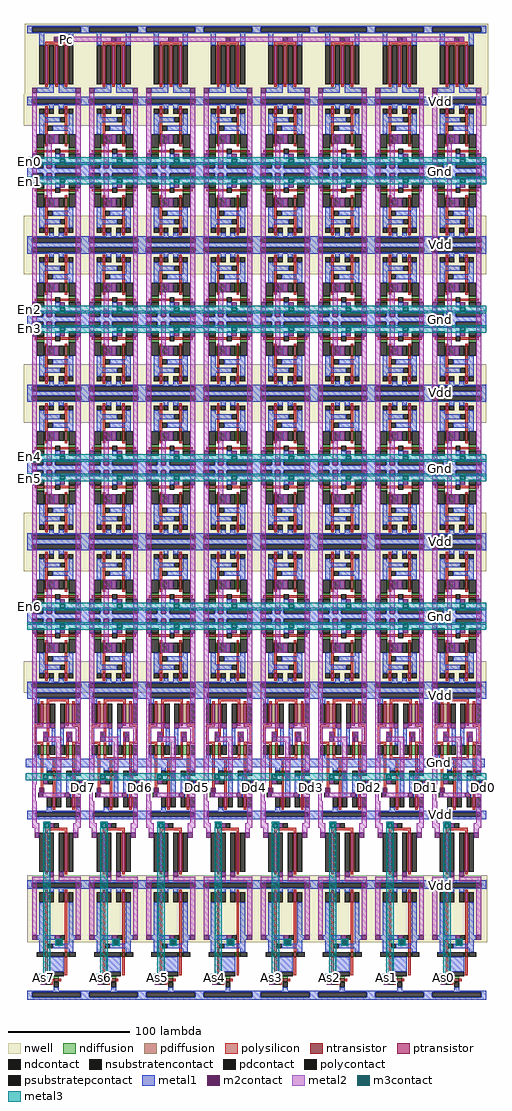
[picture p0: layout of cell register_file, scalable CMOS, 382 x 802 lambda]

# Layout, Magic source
magic
tech scmos
<< nwell >>
rect 355 55 359 61
rect 357 12 359 16
<< metal1 >>
rect 356 757 359 758
rect 355 699 359 703
rect 355 641 358 646
rect 355 581 359 586
rect 355 520 359 524
rect 355 460 358 463
rect 355 397 359 401
rect 355 337 359 342
rect 355 276 359 280
rect 355 210 359 215
rect 355 155 358 161
rect 355 113 359 117
rect 355 55 359 61
rect 358 2 359 6
rect 355 1 359 2
<< metal2 >>
rect 39 750 376 754
<< metal3 >>
rect 17 649 21 655
rect 17 633 21 639
rect 17 527 21 533
rect 17 511 21 517
rect 17 405 21 411
rect 17 389 21 395
rect 17 283 21 289
rect 60 134 66 140
rect 107 134 113 140
rect 154 134 160 140
rect 201 134 207 140
rect 248 134 254 140
rect 295 134 301 140
rect 342 134 348 140
rect 389 134 395 140
use reg_bit  reg_bit_0
transform 1 0 21 0 1 210
box -7 -247 46 555
use reg_bit  reg_bit_1
transform 1 0 68 0 1 210
box -7 -247 46 555
use reg_bit  reg_bit_2
transform 1 0 115 0 1 210
box -7 -247 46 555
use reg_bit  reg_bit_3
transform 1 0 162 0 1 210
box -7 -247 46 555
use reg_bit  reg_bit_4
transform 1 0 209 0 1 210
box -7 -247 46 555
use reg_bit  reg_bit_5
transform 1 0 256 0 1 210
box -7 -247 46 555
use reg_bit  reg_bit_6
transform 1 0 303 0 1 210
box -7 -247 46 555
use reg_bit  reg_bit_7
transform 1 0 350 0 1 210
box -7 -247 46 555
<< labels >>
rlabel metal1 357 57 357 57 3 Vdd
rlabel metal1 357 115 357 115 3 Vdd
rlabel metal1 356 158 356 158 3 Gnd
rlabel metal1 357 213 357 213 3 Vdd
rlabel metal1 357 278 357 278 3 Gnd
rlabel metal1 357 339 357 339 3 Vdd
rlabel metal1 357 399 357 399 3 Gnd
rlabel metal1 357 462 357 462 3 Vdd
rlabel metal1 357 522 357 522 3 Gnd
rlabel metal1 357 583 357 583 3 Vdd
rlabel metal1 357 643 357 643 3 Gnd
rlabel metal1 357 701 357 701 3 Vdd
rlabel metal3 389 134 395 140 5 Dd0
rlabel metal3 342 134 348 140 5 Dd1
rlabel metal3 295 134 301 140 5 Dd2
rlabel metal3 248 134 254 140 5 Dd3
rlabel metal3 201 134 207 140 5 Dd4
rlabel metal3 154 134 160 140 5 Dd5
rlabel metal3 107 134 113 140 5 Dd6
rlabel metal3 60 134 66 140 5 Dd7
rlabel metal3 19 652 19 652 7 En0
rlabel metal3 19 635 19 635 7 En1
rlabel metal3 19 530 19 530 7 En2
rlabel metal3 19 514 19 514 7 En3
rlabel metal3 19 409 19 409 7 En4
rlabel metal3 19 391 19 391 7 En5
rlabel metal3 19 286 19 286 7 En6
rlabel metal2 47 750 51 754 1 Pc
rlabel space 357 -21 361 -17 1 As0
rlabel space 310 -21 314 -17 1 As1
rlabel space 263 -21 267 -17 1 As2
rlabel space 216 -21 220 -17 1 As3
rlabel space 169 -21 173 -17 1 As4
rlabel space 122 -21 126 -17 1 As5
rlabel space 75 -21 79 -17 1 As6
rlabel space 28 -21 32 -17 1 As7
<< end >>

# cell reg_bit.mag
magic
tech scmos
<< nwell >>
rect -4 -156 0 -149
rect 0 -166 4 -159
rect 36 -166 40 -159
<< metal1 >>
rect -5 -56 43 -49
rect -4 -99 0 -92
rect -4 -156 0 -149
rect -4 -247 0 -240
<< m2contact >>
rect 14 -106 18 -102
rect 7 -235 11 -231
<< metal2 >>
rect 2 -110 6 -106
rect 34 -110 38 -106
rect 0 -166 4 -159
rect 36 -166 40 -159
<< m3contact >>
rect 10 -106 14 -102
rect 7 -231 11 -227
<< metal3 >>
rect -4 -67 1 -61
rect 9 -102 15 -101
rect 9 -106 10 -102
rect 14 -106 15 -102
rect 9 -226 15 -106
rect 6 -227 15 -226
rect 6 -231 7 -227
rect 11 -231 15 -227
rect 6 -232 15 -231
use precharge  precharge_0
transform 1 0 19 0 1 514
box -25 -20 27 41
use sram  sram_7
transform 1 0 6 0 1 481
box -13 -47 38 16
use sram  sram_6
transform 1 0 6 0 -1 387
box -13 -47 38 16
use sram  sram_5
transform 1 0 6 0 1 359
box -13 -47 38 16
use sram  sram_3
transform 1 0 6 0 -1 265
box -13 -47 38 16
use sram  sram_2
transform 1 0 6 0 1 237
box -13 -47 38 16
use sram  sram_1
transform 1 0 6 0 -1 143
box -13 -47 38 16
use sram  sram_0
transform 1 0 6 0 1 115
box -13 -47 38 16
use sram  sram_4
transform 1 0 6 0 -1 21
box -13 -47 38 16
use write_driver  write_driver_0
transform 1 0 2 0 1 -16
box -7 -83 43 23
use isolation  isolation_0
transform 1 0 20 0 1 -159
box -20 5 20 61
use diffamp  diffamp_0
transform 1 0 -79 0 1 -210
box 75 -37 124 65
<< labels >>
rlabel metal3 -2 -64 -2 -64 1 Ds
rlabel metal1 -2 -152 -2 -152 1 Vdd
rlabel metal1 -2 -96 -2 -96 1 Vdd
rlabel metal1 -2 -53 -2 -53 1 Gnd
rlabel metal2 2 -164 2 -164 5 A
rlabel metal2 4 -108 4 -108 1 Bl
rlabel metal2 36 -108 36 -108 1 Bl_
rlabel metal2 38 -164 38 -164 1 A_
rlabel metal1 -2 -243 -2 -243 1 Gnd
rlabel m3contact 7 -231 11 -227 5 As
rlabel metal3 9 -108 15 -101 1 iso_sel
<< end >>

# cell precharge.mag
magic
tech scmos
<< nwell >>
rect -25 -17 27 41
<< ptransistor >>
rect -8 -9 -6 23
rect 0 -9 2 23
rect 8 -9 10 23
<< pdiffusion >>
rect -9 -9 -8 23
rect -6 -9 -5 23
rect -1 -9 0 23
rect 2 -9 3 23
rect 7 -9 8 23
rect 10 -9 11 23
<< pdcontact >>
rect -13 -9 -9 23
rect -5 -9 -1 23
rect 3 -9 7 23
rect 11 -9 15 23
<< nsubstratencontact >>
rect -19 34 21 38
<< polysilicon >>
rect -8 24 10 26
rect -8 23 -6 24
rect 0 23 2 24
rect 8 23 10 24
rect -8 -11 -6 -9
rect 0 -11 2 -9
rect 8 -11 10 -9
<< polycontact >>
rect -1 26 3 30
<< metal1 >>
rect -23 38 25 39
rect -23 34 -19 38
rect 21 34 25 38
rect -23 33 25 34
rect -13 23 -9 33
rect 11 23 15 33
rect -5 -12 -1 -9
rect -15 -16 -1 -12
rect 3 -12 7 -9
rect 3 -16 17 -12
<< m2contact >>
rect 3 26 7 30
rect -19 -16 -15 -12
rect 17 -16 21 -12
<< metal2 >>
rect -19 -20 -15 -16
rect 17 -20 21 -16
<< labels >>
rlabel m2contact 5 28 5 28 1 Clk
rlabel metal2 -17 -18 -17 -18 1 Bl
rlabel metal2 19 -18 19 -18 1 Bl_
<< end >>

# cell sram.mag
magic
tech scmos
<< nwell >>
rect -13 -10 38 16
<< ntransistor >>
rect 5 -25 7 -17
rect 21 -25 23 -17
rect -2 -32 4 -30
rect 24 -32 30 -30
<< ptransistor >>
rect 5 0 7 4
rect 21 0 23 4
<< ndiffusion >>
rect 4 -25 5 -17
rect 7 -25 8 -17
rect 20 -25 21 -17
rect 23 -25 24 -17
rect -2 -30 4 -28
rect -2 -33 4 -32
rect 24 -30 30 -28
rect 24 -33 30 -32
<< pdiffusion >>
rect 4 0 5 4
rect 7 0 8 4
rect 20 0 21 4
rect 23 0 24 4
<< ndcontact >>
rect -2 -28 4 -17
rect 8 -25 12 -17
rect 16 -25 20 -17
rect 24 -28 30 -17
rect -2 -37 4 -33
rect 24 -37 30 -33
<< pdcontact >>
rect 0 0 4 4
rect 8 0 12 4
rect 16 0 20 4
rect 24 0 28 4
<< psubstratepcontact >>
rect -6 -45 3 -41
rect 13 -45 34 -41
<< nsubstratencontact >>
rect -6 8 34 12
<< polysilicon >>
rect 5 4 7 6
rect 21 4 23 6
rect 5 -17 7 0
rect 21 -17 23 0
rect 5 -27 7 -25
rect 21 -27 23 -25
rect -4 -32 -2 -30
rect 4 -32 13 -30
rect 17 -32 24 -30
rect 30 -32 32 -30
<< polycontact >>
rect 17 -7 21 -3
rect 7 -14 11 -10
rect 13 -33 17 -29
<< metal1 >>
rect -10 12 38 14
rect -10 8 -6 12
rect 34 8 38 12
rect -10 7 38 8
rect 8 4 12 7
rect 16 4 20 7
rect 0 -3 4 0
rect 0 -7 17 -3
rect 0 -17 4 -7
rect 24 -10 28 0
rect 11 -14 28 -10
rect 24 -17 28 -14
rect 13 -37 17 -33
rect -10 -41 6 -40
rect -10 -45 -6 -41
rect 3 -45 6 -41
rect 10 -41 38 -40
rect 10 -45 13 -41
rect 34 -45 38 -41
rect -10 -47 38 -45
<< m2contact >>
rect 12 -25 16 -17
rect -6 -37 -2 -33
rect 17 -37 21 -33
rect 30 -37 34 -33
rect 6 -45 10 -40
<< metal2 >>
rect -6 -33 -2 14
rect -6 -47 -2 -37
rect 6 -25 12 -17
rect 6 -40 10 -25
rect 30 -33 34 14
rect 30 -47 34 -37
<< m3contact >>
rect 17 -41 21 -37
<< metal3 >>
rect -10 -37 38 -36
rect -10 -41 17 -37
rect 21 -41 38 -37
rect -10 -42 38 -41
<< labels >>
rlabel nsubstratencontact 14 10 14 10 1 Vdd
rlabel metal1 12 -44 12 -44 1 Gnd
rlabel metal3 36 -39 36 -39 1 En
rlabel metal2 -4 -23 -4 -23 1 Bl
rlabel metal2 32 -23 32 -23 1 Bl_
<< end >>

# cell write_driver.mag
magic
tech scmos
<< ntransistor >>
rect 5 -30 7 -22
rect 10 -30 12 -22
rect 26 -30 28 -22
rect 31 -30 33 -22
rect 15 -47 17 -43
rect 31 -47 33 -43
<< ptransistor >>
rect 5 -4 7 12
rect 10 -4 12 12
rect 26 -4 28 12
rect 31 -4 33 12
rect 15 -73 17 -65
rect 31 -73 33 -65
<< ndiffusion >>
rect 4 -30 5 -22
rect 7 -30 10 -22
rect 12 -30 13 -22
rect 25 -30 26 -22
rect 28 -30 31 -22
rect 33 -30 34 -22
rect 14 -47 15 -43
rect 17 -47 18 -43
rect 30 -47 31 -43
rect 33 -47 34 -43
<< pdiffusion >>
rect 4 -4 5 12
rect 7 -4 10 12
rect 12 -4 13 12
rect 25 -4 26 12
rect 28 -4 31 12
rect 33 -4 34 12
rect 14 -73 15 -65
rect 17 -73 18 -65
rect 30 -73 31 -65
rect 33 -73 34 -65
<< ndcontact >>
rect 0 -30 4 -22
rect 13 -30 17 -22
rect 21 -30 25 -22
rect 34 -30 38 -22
rect 10 -47 14 -43
rect 18 -47 22 -43
rect 26 -47 30 -43
rect 34 -47 38 -43
<< pdcontact >>
rect 0 -4 4 12
rect 13 -4 17 12
rect 21 -4 25 12
rect 34 -4 38 12
rect 10 -73 14 -65
rect 18 -73 22 -65
rect 26 -73 30 -65
rect 34 -73 38 -65
<< nsubstratencontact >>
rect 1 17 37 21
rect 1 -81 37 -77
<< polysilicon >>
rect 10 14 28 16
rect 5 12 7 14
rect 10 12 12 14
rect 26 12 28 14
rect 31 12 33 14
rect 5 -5 7 -4
rect 0 -7 7 -5
rect 0 -19 2 -7
rect 10 -11 12 -4
rect 26 -6 28 -4
rect 31 -5 33 -4
rect 31 -7 38 -5
rect 11 -15 12 -11
rect 26 -15 27 -11
rect 0 -21 7 -19
rect 5 -22 7 -21
rect 10 -22 12 -20
rect 26 -22 28 -15
rect 36 -19 38 -7
rect 31 -21 38 -19
rect 31 -22 33 -21
rect 5 -61 7 -30
rect 10 -32 12 -30
rect 26 -32 28 -30
rect 10 -34 28 -32
rect 15 -43 17 -34
rect 31 -43 33 -30
rect 15 -65 17 -47
rect 31 -65 33 -47
rect 15 -75 17 -73
rect 31 -75 33 -73
<< polycontact >>
rect 7 -15 11 -11
rect 27 -15 31 -11
rect 11 -54 15 -50
rect 3 -65 7 -61
rect 33 -55 37 -51
<< metal1 >>
rect -6 21 42 23
rect -6 17 1 21
rect 37 17 42 21
rect -6 16 42 17
rect 0 12 4 16
rect 34 12 38 16
rect 14 -22 17 -8
rect 21 -22 24 -8
rect 0 -34 4 -30
rect 34 -34 38 -30
rect 0 -40 38 -34
rect 10 -43 14 -40
rect 34 -43 38 -40
rect 18 -65 22 -51
rect 26 -61 30 -47
rect 37 -55 38 -51
rect 29 -65 30 -61
rect 10 -76 14 -73
rect 34 -76 38 -73
rect -6 -77 42 -76
rect -6 -81 1 -77
rect 37 -81 42 -77
rect -6 -83 42 -81
<< m2contact >>
rect 13 -8 17 -4
rect 7 -19 11 -15
rect 21 -8 25 -4
rect 27 -19 31 -15
rect 7 -54 11 -50
rect 18 -51 22 -47
rect 4 -61 8 -57
rect 38 -55 42 -51
rect 25 -65 29 -61
<< metal2 >>
rect -2 -4 2 23
rect 34 -4 38 23
rect -2 -8 13 -4
rect 25 -8 38 -4
rect -2 -54 2 -8
rect 7 -15 11 -11
rect 27 -15 31 -11
rect 11 -19 22 -15
rect 26 -19 27 -15
rect 18 -47 22 -19
rect 34 -42 38 -8
rect 31 -46 38 -42
rect 31 -54 34 -46
rect -2 -68 1 -54
rect 31 -57 35 -54
rect 4 -65 25 -61
rect 32 -62 35 -57
rect 32 -65 38 -62
rect -2 -83 2 -68
rect 34 -83 38 -65
<< m3contact >>
rect 7 -50 11 -46
rect 38 -59 42 -55
<< metal3 >>
rect -7 -46 42 -45
rect -7 -50 7 -46
rect 11 -50 42 -46
rect -7 -51 42 -50
rect 37 -55 43 -54
rect 37 -59 38 -55
rect 42 -59 43 -55
rect 37 -60 43 -59
<< labels >>
rlabel metal1 19 -40 19 -40 1 Gnd
rlabel metal1 19 22 19 22 5 Vdd
rlabel polycontact 35 -52 35 -52 1 Dd
rlabel nsubstratencontact 19 -79 19 -79 1 Vdd
rlabel metal2 36 -63 36 -63 1 Bl_
rlabel metal3 40 -48 40 -48 1 Ds
rlabel m3contact 40 -57 40 -57 1 Dd
<< end >>

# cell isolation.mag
magic
tech scmos
<< ptransistor >>
rect -9 17 -7 49
rect 7 17 9 49
<< pdiffusion >>
rect -10 17 -9 49
rect -7 17 -6 49
rect 6 17 7 49
rect 9 17 10 49
<< pdcontact >>
rect -14 17 -10 49
rect -6 17 -2 49
rect 2 17 6 49
rect 10 17 14 49
<< polysilicon >>
rect -9 51 9 53
rect -9 49 -7 51
rect 7 49 9 51
rect -9 15 -7 17
rect 7 15 9 17
<< polycontact >>
rect -2 53 2 57
<< m2contact >>
rect -18 45 -14 49
rect -6 13 -2 17
rect 14 45 18 49
rect 2 13 6 17
<< metal2 >>
rect -20 57 -16 61
rect 16 57 20 61
rect -20 53 -14 57
rect -18 49 -14 53
rect 14 53 20 57
rect 14 49 18 53
rect -20 9 -2 13
rect 2 9 20 13
rect -20 5 -16 9
rect 16 5 20 9
<< labels >>
rlabel metal2 -18 59 -18 59 1 B
rlabel metal2 18 59 18 59 1 B_
rlabel metal2 -18 7 -18 7 1 Bl
rlabel metal2 18 7 18 7 1 Bl_
rlabel polycontact 0 55 0 55 1 As
<< end >>

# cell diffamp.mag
magic
tech scmos
<< nwell >>
rect 75 10 124 65
<< ntransistor >>
rect 90 -2 92 2
rect 106 -2 108 2
rect 97 -22 101 -20
<< ptransistor >>
rect 90 43 92 51
rect 106 43 108 51
<< ndiffusion >>
rect 89 -2 90 2
rect 92 -2 93 2
rect 105 -2 106 2
rect 108 -2 109 2
rect 97 -20 101 -18
rect 97 -23 101 -22
<< pdiffusion >>
rect 89 43 90 51
rect 92 43 93 51
rect 105 43 106 51
rect 108 43 109 51
<< ndcontact >>
rect 83 -2 89 2
rect 93 -2 105 2
rect 109 -2 115 2
rect 93 -18 105 -14
rect 97 -27 101 -23
<< pdcontact >>
rect 85 43 89 51
rect 93 43 97 51
rect 101 43 105 51
rect 109 43 113 51
<< psubstratepcontact >>
rect 79 -35 119 -31
<< nsubstratencontact >>
rect 79 55 119 59
<< polysilicon >>
rect 90 51 92 53
rect 106 51 108 53
rect 90 2 92 43
rect 106 2 108 43
rect 90 -17 92 -2
rect 106 -17 108 -2
rect 94 -22 97 -20
rect 101 -22 103 -20
rect 94 -25 96 -22
<< polycontact >>
rect 102 12 106 16
rect 92 5 96 9
rect 90 -25 94 -21
<< metal1 >>
rect 75 59 123 61
rect 75 55 79 59
rect 119 55 123 59
rect 75 54 123 55
rect 93 51 97 54
rect 101 51 105 54
rect 85 16 89 43
rect 109 16 113 43
rect 83 12 98 16
rect 109 12 115 16
rect 85 2 89 12
rect 109 9 113 12
rect 96 5 113 9
rect 109 2 113 5
rect 93 -14 105 -2
rect 97 -30 101 -27
rect 75 -31 123 -30
rect 75 -35 79 -31
rect 119 -35 123 -31
rect 75 -37 123 -35
<< m2contact >>
rect 79 12 83 16
rect 98 12 102 16
rect 115 12 119 16
<< metal2 >>
rect 79 16 83 61
rect 115 16 119 61
<< m3contact >>
rect 99 8 103 12
<< metal3 >>
rect 98 12 104 13
rect 98 8 99 12
rect 103 8 104 12
rect 98 7 104 8
<< labels >>
rlabel nsubstratencontact 99 57 99 57 1 Vdd
rlabel polycontact 92 -23 92 -23 1 As
rlabel psubstratepcontact 99 -33 99 -33 1 Gnd
rlabel metal2 81 18 81 18 1 A
rlabel metal3 98 7 104 13 1 Ad
<< end >>
